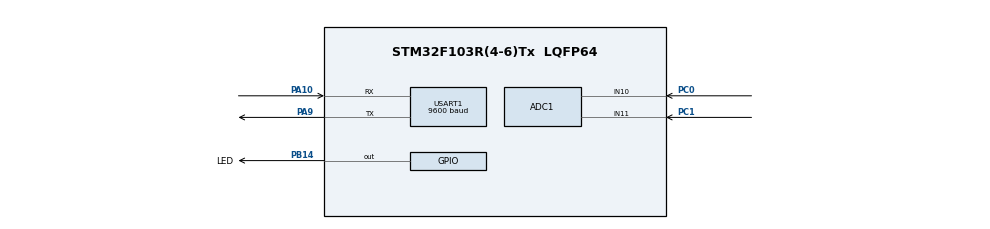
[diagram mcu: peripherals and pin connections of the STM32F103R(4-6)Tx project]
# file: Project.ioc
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ADC1.Channel-5\#ChannelRegularConversion=ADC_CHANNEL_10
ADC1.Channel-6\#ChannelRegularConversion=ADC_CHANNEL_11
ADC1.DiscontinuousConvMode=ENABLE
ADC1.NbrOfConversion=2
ADC1.NbrOfConversionFlag=1
ADC1.Rank-5\#ChannelRegularConversion=1
ADC1.Rank-6\#ChannelRegularConversion=2
ADC1.SamplingTime-5\#ChannelRegularConversion=ADC_SAMPLETIME_1CYCLE_5
ADC1.SamplingTime-6\#ChannelRegularConversion=ADC_SAMPLETIME_1CYCLE_5
ADC1.master=1
Mcu.Family=STM32F1
Mcu.Name=STM32F103R(4-6)Tx
Mcu.Package=LQFP64
NVIC.PriorityGroup=NVIC_PRIORITYGROUP_4
NVIC.TIM3_IRQn=true\:0\:0\:false\:false\:true\:true\:true\:true
PA10.Mode=Asynchronous
PA10.Signal=USART1_RX
PA9.Mode=Asynchronous
PA9.Signal=USART1_TX
PB14.GPIO_Label=LED
PB14.PinState=GPIO_PIN_SET
PB14.Signal=GPIO_Output
PC0.Signal=ADCx_IN10
PC1.Signal=ADCx_IN11
PD0-OSC_IN.Mode=HSE-External-Oscillator
PD0-OSC_IN.Signal=RCC_OSC_IN
PD1-OSC_OUT.Mode=HSE-External-Oscillator
PD1-OSC_OUT.Signal=RCC_OSC_OUT
ProjectManager.HeapSize=0x200
ProjectManager.StackSize=0x400
ProjectManager.TargetToolchain=MDK-ARM V5.32
RCC.APB1Freq_Value=8000000
RCC.APB2Freq_Value=8000000
SH.ADCx_IN10.0=ADC1_IN10,IN10
SH.ADCx_IN11.0=ADC1_IN11,IN11
TIM3.Period=999
TIM3.Prescaler=399
USART1.BaudRate=9600
USART1.VirtualMode=VM_ASYNC
VP_SYS_VS_ND.Mode=No_Debug
VP_TIM3_VS_ClockSourceINT.Mode=Internal
board=custom

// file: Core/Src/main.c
/* USER CODE BEGIN Header */
/**
  ******************************************************************************
  * @file           : main.c
  * @brief          : Main program body
  ******************************************************************************
  * @attention
  *
  * Copyright (c) 2023 STMicroelectronics.
  * All rights reserved.
  *
  * This software is licensed under terms that can be found in the LICENSE file
  * in the root directory of this software component.
  * If no LICENSE file comes with this software, it is provided AS-IS.
  *
  ******************************************************************************
  */
/* USER CODE END Header */
#include "main.h"
#include "adc.h"
#include "tim.h"
#include "usart.h"
#include "gpio.h"

/* USER CODE BEGIN Includes */
#include <stdio.h>
#include <stdint.h>
#include "lcd12864.h"
#include "lcd1602.h"
#include "DHT11.h"
#include "oled.h"
#include "bmp.h"
#include "lcd1602.h"
#include "keyboard.h"
#include "step_motor.h"
#include "at24c02.h"
/* USER CODE END Includes */

void SystemClock_Config(void);

/* USER CODE BEGIN 0 */

uint32_t point=0;

uint8_t key_value,key_last;
uint32_t tick;
uint8_t str[64];
uint8_t mytemp,myhumi;
float volt1,volt2;

uint16_t ADC_Get(void);
/* USER CODE END 0 */

int main(void)
{
  /* USER CODE BEGIN 1 */
  uint8_t buf1[16] = "What's up guy?"; //guy
  uint8_t buf2[16];
  /* USER CODE END 1 */

  /* MCU Configuration--------------------------------------------------------*/

  /* Reset of all peripherals, Initializes the Flash interface and the Systick. */
  HAL_Init();

  /* Configure the system clock */
  SystemClock_Config();

  /* Initialize all configured peripherals */
  MX_GPIO_Init();
  MX_TIM3_Init();
  MX_USART1_UART_Init();
  MX_ADC1_Init();
  /* USER CODE BEGIN 2 */
	HAL_TIM_Base_Start_IT(&htim3);
  LCD_Init();
  LCD12864_Init();
  AT24C02_Init();
  OLED_Init();
  DHT11_Init();
  keyboard_init();
	step_motor_init();
  /* USER CODE END 2 */

  /* Infinite loop */
  while (1)
  {

    /* USER CODE BEGIN 3 */

    key_value = key_scan();
    if(key_last != key_value)//防止多次检测
      key_last = key_value;
    else
      key_value = 16;

    if(key_value != 16)
    {

			OLED_DrawLine(0,32,127,32,1);
			OLED_DrawLine(64,0,64,63,1);
//			OLED_DrawLine(0,20,100,10,1);
			OLED_DrawPoint(3,50,1);
			OLED_DrawCircle(63,30,28);
			OLED_Refresh();

      printf("key_value:%d\r\n",key_value);
      sprintf(str,"key_value:%d  ",key_value);
      show_ascii_str(str,16,0);
//      OLED_ShowString(0,16,str,16,1);
//      OLED_Refresh();
      LCD_Puts(0, 1, str);
      if(key_value <= 7)
      {
        step_motor_angle_set(key_value*45);//将按键值转化为角度
      }
    }
    if(HAL_GetTick()%1500 == 0)
    {
      AT24C02_Write(buf1,0,sizeof(buf1));
      AT24C02_Read(buf2,0,sizeof(buf1));
      printf("%s\r\n",buf2);

      DHT11_Read_Data(&mytemp,&myhumi);
      printf("T:%d,H:%d\r\n",mytemp,myhumi);
      sprintf(str,"T:%d,H:%d  ",mytemp,myhumi);
      show_ascii_str(str,0,0);
//      OLED_ShowString(0,0,str,16,1);
//      OLED_Refresh();
      LCD_Puts(0, 0, str);

			volt1 = ADC_Get()*3.3/4095;
			volt2 = ADC_Get()*3.3/4095;
			sprintf(str,"V1:%1d.%02d,V2:%1d.%02d",(int)volt1,(int)(volt1*100)%100,(int)volt2,(int)(volt2*100)%100);
			show_ascii_str(str,32,0);
    }
  }
  /* USER CODE END 3 */
}

void SystemClock_Config(void)
{
  RCC_OscInitTypeDef RCC_OscInitStruct = {0};
  RCC_ClkInitTypeDef RCC_ClkInitStruct = {0};
  RCC_PeriphCLKInitTypeDef PeriphClkInit = {0};

  /** Initializes the RCC Oscillators according to the specified parameters
  * in the RCC_OscInitTypeDef structure.
  */
  RCC_OscInitStruct.OscillatorType = RCC_OSCILLATORTYPE_HSI;
  RCC_OscInitStruct.HSIState = RCC_HSI_ON;
  RCC_OscInitStruct.HSICalibrationValue = RCC_HSICALIBRATION_DEFAULT;
  RCC_OscInitStruct.PLL.PLLState = RCC_PLL_NONE;
  if (HAL_RCC_OscConfig(&RCC_OscInitStruct) != HAL_OK)
  {
    Error_Handler();
  }

  /** Initializes the CPU, AHB and APB buses clocks
  */
  RCC_ClkInitStruct.ClockType = RCC_CLOCKTYPE_HCLK|RCC_CLOCKTYPE_SYSCLK
                              |RCC_CLOCKTYPE_PCLK1|RCC_CLOCKTYPE_PCLK2;
  RCC_ClkInitStruct.SYSCLKSource = RCC_SYSCLKSOURCE_HSI;
  RCC_ClkInitStruct.AHBCLKDivider = RCC_SYSCLK_DIV1;
  RCC_ClkInitStruct.APB1CLKDivider = RCC_HCLK_DIV1;
  RCC_ClkInitStruct.APB2CLKDivider = RCC_HCLK_DIV1;

  if (HAL_RCC_ClockConfig(&RCC_ClkInitStruct, FLASH_LATENCY_0) != HAL_OK)
  {
    Error_Handler();
  }
  PeriphClkInit.PeriphClockSelection = RCC_PERIPHCLK_ADC;
  PeriphClkInit.AdcClockSelection = RCC_ADCPCLK2_DIV2;
  if (HAL_RCCEx_PeriphCLKConfig(&PeriphClkInit) != HAL_OK)
  {
    Error_Handler();
  }
}

/* USER CODE BEGIN 4 */
void HAL_TIM_PeriodElapsedCallback(TIM_HandleTypeDef *htim)
{
  if(htim == &htim3)
  {
    tick ++;
    if(tick >= 20)
    {
      tick = 0;
      HAL_GPIO_TogglePin(LED_GPIO_Port,LED_Pin);
    }
  }
}

int fputc(int ch, FILE *f)
{
  /* Place your implementation of fputc here */
  /* e.g. write a character to the USART1 and Loop until the end of transmission */
  HAL_UART_Transmit(&huart1, (uint8_t *)&ch, 1, 0xFFFF);

  return ch;
}

uint16_t ADC_Get()
{
	HAL_ADC_Start(&hadc1);     //启动ADC转换
	HAL_ADC_PollForConversion(&hadc1, 50);   //等待转换完成，50为最大等待时间，单位为ms

	if(HAL_IS_BIT_SET(HAL_ADC_GetState(&hadc1), HAL_ADC_STATE_REG_EOC))
	{
		return(HAL_ADC_GetValue(&hadc1));	//返回ADC的值
	}
	return 0;
}
/* USER CODE END 4 */

void Error_Handler(void)
{
  __disable_irq();
  while (1)
  {
  }
}
